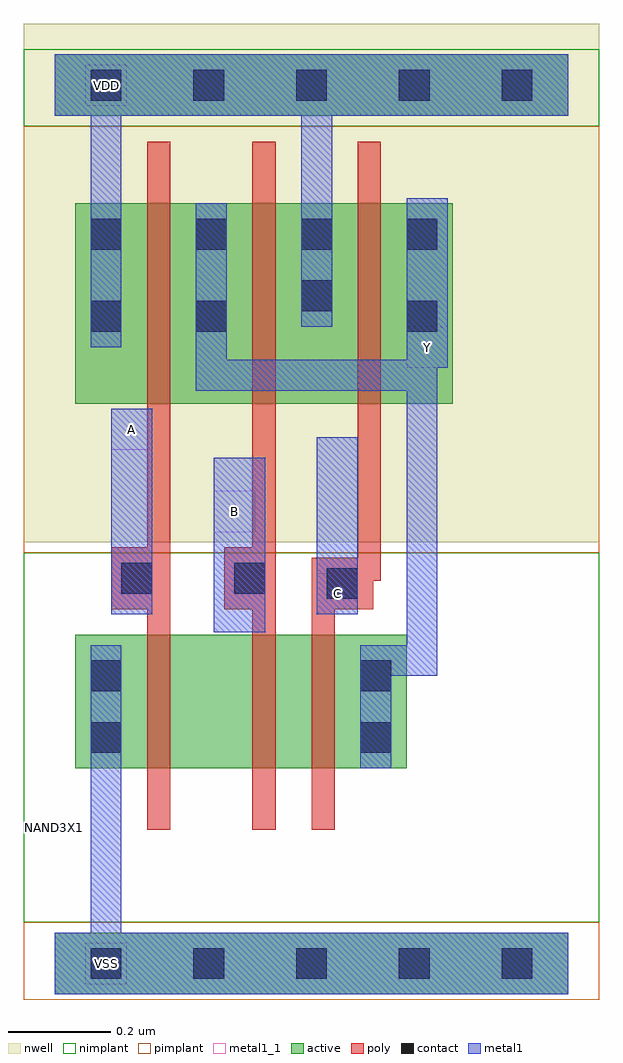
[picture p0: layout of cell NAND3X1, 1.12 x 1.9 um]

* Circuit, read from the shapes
.subckt NAND3X1 A B C VDD VSS Y
M1 n1 A VSS VSS nfet w=0.26u l=0.045u
M2 n2 B n1 VSS nfet w=0.26u l=0.045u
M3 Y C n2 VSS nfet w=0.26u l=0.045u
M4 Y A VDD VDD pfet w=0.39u l=0.045u
M5 VDD B Y VDD pfet w=0.39u l=0.045u
M6 Y C VDD VDD pfet w=0.39u l=0.045u
.ends

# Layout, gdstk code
import gdstk
lib = gdstk.Library(unit=1e-6, precision=5e-10)
def R(c, l, rs):  # rectangles x0, y0, x1, y1
    for r in rs: c.add(gdstk.rectangle(r[:2], r[2:], *l))
def A(c, l, x, y, w, h, nx, ny, dx, dy):  # array of equal rectangles
    R(c, l, [(x+i*dx, y+j*dy, x+i*dx+w, y+j*dy+h) for i in range(nx) for j in range(ny)])
def P(c, l, *ps):  # polygons
    for p in ps: c.add(gdstk.Polygon(p, *l))
active = (1, 0)
nwell = (2, 0)
poly = (3, 0)
nimplant = (4, 0)
pimplant = (5, 0)
contact = (6, 0)
metal1 = (7, 0)
metal1_1 = (7, 1)

nand3x1 = lib.new_cell('NAND3X1')
R(nand3x1, active, [(0,-0.06,1,0.06), (0.04,0.38,0.685,0.64), (0.04,1.09,0.775,1.48), (0,1.65,1,1.77)])
R(nand3x1, nwell, [(-0.06,0.82,1.06,1.83)])
P(nand3x1, poly, [(0.18,1.6),(0.225,1.6),(0.225,0.26),(0.18,0.26),(0.18,0.69),(0.11,0.69),(0.11,0.81),(0.18,0.81)],
  [(0.385,1.6),(0.43,1.6),(0.43,0.26),(0.385,0.26),(0.385,0.69),(0.33,0.69),(0.33,0.81),(0.385,0.81)],
  [(0.59,1.6),(0.635,1.6),(0.635,0.745),(0.62,0.745),(0.62,0.69),(0.545,0.69),(0.545,0.26),(0.5,0.26),(0.5,0.79),(0.59,0.79)])
R(nand3x1, nimplant, [(-0.06,0.08,1.06,0.8), (-0.06,1.63,1.06,1.78)])
R(nand3x1, pimplant, [(-0.06,-0.07,1.06,0.08), (-0.06,0.8,1.06,1.63)])
A(nand3x1, contact, 0.07, -0.03, 0.06, 0.06, 5, 2, 0.2, 1.71)
A(nand3x1, contact, 0.07, 1.39, 0.06, 0.06, 4, 1, 0.205, 0)
R(nand3x1, contact, [(0.07,0.41,0.13,0.47), (0.595,0.41,0.655,0.47), (0.07,0.53,0.13,0.59), (0.595,0.53,0.655,0.59), (0.53,0.71,0.59,0.77), (0.13,0.72,0.19,0.78), (0.35,0.72,0.41,0.78), (0.07,1.23,0.13,1.29), (0.275,1.23,0.335,1.29), (0.685,1.23,0.745,1.29), (0.48,1.27,0.54,1.33)])
R(nand3x1, metal1, [(0.31,0.645,0.41,0.985), (0.11,0.68,0.19,1.08), (0.51,0.68,0.59,1.025)])
P(nand3x1, metal1, [(0.07,0.62),(0.13,0.62),(0.13,0.06),(1,0.06),(1,-0.06),(0,-0.06),(0,0.06),(0.07,0.06)],
  [(0,1.77),(1,1.77),(1,1.65),(0.54,1.65),(0.54,1.24),(0.48,1.24),(0.48,1.65),(0.13,1.65),(0.13,1.2),(0.07,1.2),(0.07,1.65),(0,1.65)],
  [(0.275,1.48),(0.335,1.48),(0.335,1.175),(0.685,1.175),(0.685,1.49),(0.765,1.49),(0.765,1.16),(0.745,1.16),(0.745,0.56),(0.655,0.56),(0.655,0.38),(0.595,0.38),(0.595,0.62),(0.685,0.62),(0.685,1.115),(0.275,1.115)])
R(nand3x1, metal1_1, [(0.06,-0.04,0.14,0.04), (0.51,0.68,0.59,0.76), (0.31,0.84,0.39,0.92), (0.11,1,0.19,1.08), (0.685,1.16,0.765,1.24), (0.06,1.67,0.14,1.75)])
nand3x1.add(gdstk.Label('VSS', (0.1,0), layer=7, texttype=1))
nand3x1.add(gdstk.Label('Y', (0.725,1.2), layer=7, texttype=1))
nand3x1.add(gdstk.Label('C', (0.55,0.72), layer=7, texttype=1))
nand3x1.add(gdstk.Label('A', (0.15,1.04), layer=7, texttype=1))
nand3x1.add(gdstk.Label('B', (0.35,0.88), layer=7, texttype=1))
nand3x1.add(gdstk.Label('VDD', (0.1,1.71), layer=7, texttype=1))
nand3x1.add(gdstk.Label('NAND3X1', (0,0.265), layer=63, texttype=0))

lib.write_gds('NAND3X1.gds')
